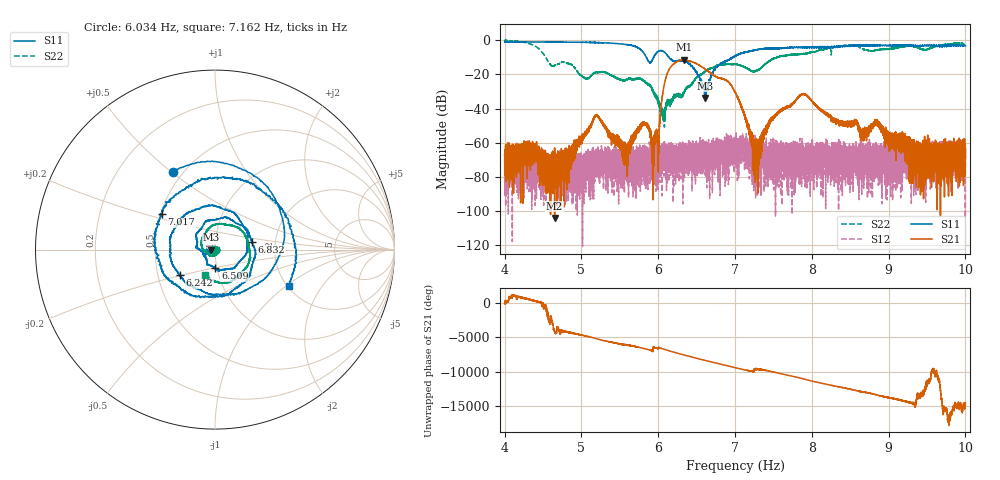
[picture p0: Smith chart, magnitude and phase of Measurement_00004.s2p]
!Created with skrf (http://scikit-rf.org).
# Hz S RI R 50.0
!freq ReS11 ImS11 ReS21 ImS21 ReS12 ImS12 ReS22 ImS22
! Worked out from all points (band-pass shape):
!   14001 points, 4 Hz to 10 Hz, reference 50 ohm
!   highest |S21| = -11.36 dB at 6.338 Hz (marker M1); lowest = -103.9 dB at 4.651 Hz (marker M2)
!   |S21| within 3 dB of the highest: 6.19 Hz to 6.525 Hz (334.5 mHz wide, 5.26 % of centre)
!   lowest |S11| = -33.8 dB at 6.612 Hz (marker M3), VSWR 1.04, Z = 48 - j0.0509 ohm
!   |S11| at or under -10 dB: 5.846 Hz to 5.94 Hz (94.56 mHz wide, 1.6 % of centre); 6.141 Hz to 6.967 Hz (825.8 mHz wide, 12.6 % of centre); 6.967487 Hz to 6.968738 Hz (1.251 mHz wide, 0.018 % of centre)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
!   |S22| runs from -50.8 to -0.2 dB; largest |S21 - S12| = 0.27
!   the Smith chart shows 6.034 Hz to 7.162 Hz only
!   S11 on the Smith chart (normalised r, x): 6.034 Hz: 0.44, +0.50; 6.242 Hz: 0.65, -0.19; 6.509 Hz: 0.98, -0.20; 6.832 Hz: 1.51, +0.14; 7.017 Hz: 0.51, +0.23; 7.162 Hz: 2.03, -1.04
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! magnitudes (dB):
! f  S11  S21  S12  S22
! 4 Hz  -1.1  -66.4  -72.4  -0.3
! 4.651 Hz  -1.1  -103.9  -73.1  -14.8
! 5 Hz  -1.2  -58.1  -76.4  -20.8
! 5.195 Hz  -1.4  -44.0  -67.2  -18.8
! 5.578 Hz  -2.5  -64.4  -63.8  -23.3
! 5.798 Hz  -6.7  -49.1  -65.7  -23.7
! 6 Hz  -6.6  -69.8  -73.7  -35.9
! 6.034 Hz  -6.1  -39.9  -63.9  -42.4
! 6.11 Hz  -8.3  -20.5  -74.7  -36.8
! 6.242 Hz  -12.4  -12.7  -70.2  -31.9
! 6.338 Hz  -12.1  -11.4  -64.4  -30.6
! 6.509 Hz  -19.8  -14.0  -63.7  -21.6
! 6.612 Hz  -33.8  -16.9  -66.2  -18.3
! 6.832 Hz  -13.5  -22.5  -64.0  -14.5
! 7 Hz  -9.3  -30.2  -59.3  -13.9
! 7.017 Hz  -9.0  -31.8  -74.6  -14.1
! 7.162 Hz  -6.8  -49.6  -64.6  -16.5
! 7.278 Hz  -5.7  -72.0  -66.6  -17.7
! 7.562 Hz  -4.7  -42.5  -79.1  -9.8
! 8 Hz  -4.3  -35.4  -71.3  -6.9
! 9 Hz  -3.2  -56.5  -61.5  -5.0
! 10 Hz  -3.4  -68.9  -68.2  -3.1
